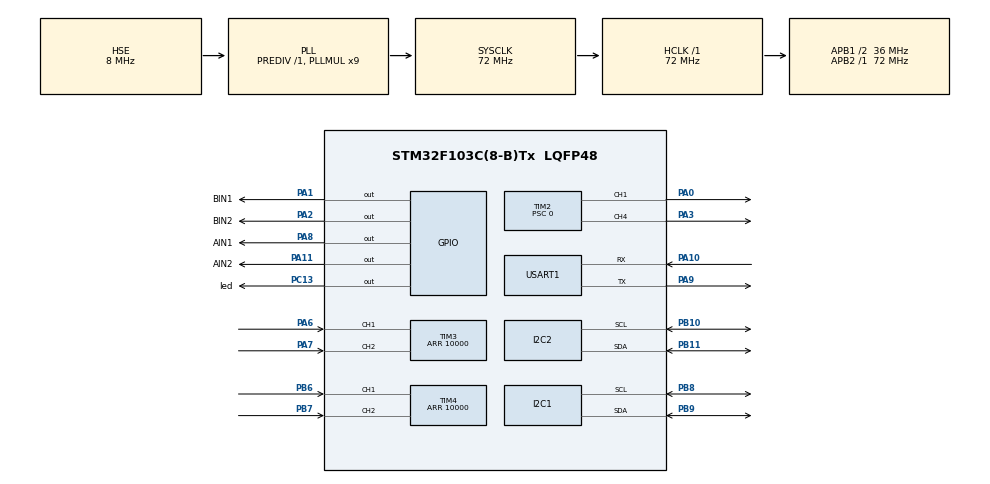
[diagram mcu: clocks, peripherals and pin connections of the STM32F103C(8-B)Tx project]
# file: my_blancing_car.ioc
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I2C2.I2C_Mode=I2C_Standard
Mcu.Family=STM32F1
Mcu.Name=STM32F103C(8-B)Tx
Mcu.Package=LQFP48
NVIC.PriorityGroup=NVIC_PRIORITYGROUP_4
NVIC.TIM1_UP_IRQn=true\:1\:0\:true\:false\:true\:true\:true
NVIC.USART1_IRQn=true\:0\:0\:true\:false\:true\:true\:true
PA0-WKUP.Signal=S_TIM2_CH1_ETR
PA1.GPIO_Label=BIN1
PA1.Signal=GPIO_Output
PA10.Mode=Asynchronous
PA10.Signal=USART1_RX
PA11.GPIO_Label=AIN2
PA11.Signal=GPIO_Output
PA13.Mode=Serial_Wire
PA13.Signal=SYS_JTMS-SWDIO
PA14.Mode=Serial_Wire
PA14.Signal=SYS_JTCK-SWCLK
PA2.GPIO_Label=BIN2
PA2.Signal=GPIO_Output
PA3.Signal=S_TIM2_CH4
PA6.Signal=S_TIM3_CH1
PA7.Signal=S_TIM3_CH2
PA8.GPIO_Label=AIN1
PA8.Signal=GPIO_Output
PA9.Mode=Asynchronous
PA9.Signal=USART1_TX
PB10.Mode=I2C
PB10.Signal=I2C2_SCL
PB11.Mode=I2C
PB11.Signal=I2C2_SDA
PB6.Signal=S_TIM4_CH1
PB7.Signal=S_TIM4_CH2
PB8.Mode=I2C
PB8.Signal=I2C1_SCL
PB9.Mode=I2C
PB9.Signal=I2C1_SDA
PC13-TAMPER-RTC.GPIO_Label=led
PC13-TAMPER-RTC.Signal=GPIO_Output
PD0-OSC_IN.Mode=HSE-External-Oscillator
PD0-OSC_IN.Signal=RCC_OSC_IN
PD1-OSC_OUT.Mode=HSE-External-Oscillator
PD1-OSC_OUT.Signal=RCC_OSC_OUT
ProjectManager.HeapSize=0x200
ProjectManager.StackSize=0x400
ProjectManager.TargetToolchain=SW4STM32
RCC.AHBFreq_Value=72000000
RCC.APB1CLKDivider=RCC_HCLK_DIV2
RCC.APB1Freq_Value=36000000
RCC.APB1TimFreq_Value=72000000
RCC.APB2Freq_Value=72000000
RCC.APB2TimFreq_Value=72000000
RCC.HCLKFreq_Value=72000000
RCC.PLLMUL=RCC_PLL_MUL9
RCC.PLLSourceVirtual=RCC_PLLSOURCE_HSE
RCC.SYSCLKFreq_VALUE=72000000
RCC.SYSCLKSource=RCC_SYSCLKSOURCE_PLLCLK
RCC.USBFreq_Value=72000000
SH.S_TIM2_CH1_ETR.0=TIM2_CH1,PWM Generation1 CH1
SH.S_TIM2_CH4.0=TIM2_CH4,PWM Generation4 CH4
SH.S_TIM3_CH1.0=TIM3_CH1,Encoder_Interface
SH.S_TIM3_CH2.0=TIM3_CH2,Encoder_Interface
SH.S_TIM4_CH1.0=TIM4_CH1,Encoder_Interface
SH.S_TIM4_CH2.0=TIM4_CH2,Encoder_Interface
TIM1.AutoReloadPreload=TIM_AUTORELOAD_PRELOAD_ENABLE
TIM1.Period=4999
TIM1.Prescaler=71
TIM2.AutoReloadPreload=TIM_AUTORELOAD_PRELOAD_ENABLE
TIM2.Channel-PWM\ Generation1\ CH1=TIM_CHANNEL_1
TIM2.Channel-PWM\ Generation4\ CH4=TIM_CHANNEL_4
TIM2.Period=7199
TIM2.Prescaler=0
TIM3.AutoReloadPreload=TIM_AUTORELOAD_PRELOAD_ENABLE
TIM3.Period=10000
TIM4.AutoReloadPreload=TIM_AUTORELOAD_PRELOAD_ENABLE
TIM4.Period=10000
USART1.VirtualMode=VM_ASYNC
VP_TIM1_VS_ClockSourceINT.Mode=Internal
board=custom

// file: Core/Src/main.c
/* USER CODE BEGIN Header */
/**
  ******************************************************************************
  * @file           : main.c
  * @brief          : Main program body
  ******************************************************************************
  * @attention
  *
  * <h2><center>&copy; Copyright (c) 2021 STMicroelectronics.
  * All rights reserved.</center></h2>
  *
  * This software component is licensed by ST under BSD 3-Clause license,
  * the "License"; You may not use this file except in compliance with the
  * License. You may obtain a copy of the License at:
  *                        opensource.org/licenses/BSD-3-Clause
  *
  ******************************************************************************
  */
/* USER CODE END Header */
#include "main.h"
#include "i2c.h"
#include "tim.h"
#include "usart.h"
#include "gpio.h"

/* USER CODE BEGIN Includes */
//#include "oled.h"
#include "hc05.h"
#include "math.h"
#include "mpu6050.h"
#include "oled.h"
#include "pid.h"
#include "stdbool.h"
/* USER CODE END Includes */

/* USER CODE BEGIN PTD */
float kP = 0, kI = 0, kD = 0;
float kP_p = 0, kI_p = 0, kD_p = 0;
float kP_t = 0, kI_t = 0, kD_t = 0;
bool start_flag = false;  //启动
int motor, dir1, dir2 = 0;
extern long rxIndex;
extern int out;
extern int t;
TxPack txpack;
RxPack rxpack;  //蓝牙使用结构体

/* USER CODE END PTD */

void SystemClock_Config(void);

/* USER CODE BEGIN 0 */
//int __io_putchar(int ch) {
//    uint8_t temp[1] = {ch};
//    HAL_UART_Transmit(&huart1, temp, 1, 0xff);
//    return (ch);
//}
/* USER CODE END 0 */

int main(void)
{

  /* MCU Configuration--------------------------------------------------------*/

  /* Reset of all peripherals, Initializes the Flash interface and the Systick. */
  HAL_Init();

  /* Configure the system clock */
  SystemClock_Config();

  /* Initialize all configured peripherals */
  MX_GPIO_Init();
  MX_TIM2_Init();
  MX_TIM3_Init();
  MX_USART1_UART_Init();
  MX_TIM4_Init();
  MX_I2C1_Init();
  MX_I2C2_Init();
  MX_TIM1_Init();
  /* USER CODE BEGIN 2 */

    OLED_Init();
    OLED_Clear();
    OLED_ShowString(0, 1, "hollo!", 12);
    OLED_ShowString(0, 2, "kP:", 12);
    OLED_ShowString(0, 3, "kD:", 12);
    OLED_ShowString(0, 4, "kI:", 12);

    HAL_TIM_PWM_Start(&htim2, TIM_CHANNEL_4);  //电机初始化
    HAL_TIM_PWM_Start(&htim2, TIM_CHANNEL_1);  //
    __HAL_TIM_SET_COMPARE(&htim2, TIM_CHANNEL_1, 0);
    __HAL_TIM_SET_COMPARE(&htim2, TIM_CHANNEL_4, 0);

    HAL_TIM_Encoder_Start(&htim3, TIM_CHANNEL_ALL);
    HAL_TIM_Encoder_Start(&htim4, TIM_CHANNEL_ALL);
    __HAL_TIM_SET_COUNTER(&htim3, 5000);
    __HAL_TIM_SET_COUNTER(&htim4, 5000);  // 编码器初始化

    PID_Init(&BC_A_PID, 420, 0, 1.2);
    PID_Init(&BC_P_PID, 550, 2.75, 1.1);                //pid初始化
    PID_Init(&BC_T_PID, -9, 0, -0.8);

    MPU6050_initialize();
    DMP_Init();                                                   //DMP6050初始化

    HAL_Delay(500);                                         //等待6050初始化

    HAL_UART_Receive_IT(&huart1, (uint8_t *) &uartByte, 1);  //蓝牙初始化

    HAL_Delay(200);

    HAL_TIM_Base_Start_IT(&htim1);
   //
  /* USER CODE END 2 */

  /* Infinite loop */
  /* USER CODE BEGIN WHILE */
#pragma clang diagnostic push
#pragma ide diagnostic ignored "EndlessLoop"
    while (1) {
        if (readValuePack(&rxpack)) {          //读蓝牙传输数据
            kP = (float) (rxpack.floats[0]);
            kI = (float) (rxpack.floats[1]);               //这个是第二个速度PID，kP值.
            kD = (float) (rxpack.floats[2]);               //获得pid设定值
            kP_p = (float)(rxpack.floats[3]);
            kD_p = (float) (rxpack.floats[5]);
            kI_p = (float) (rxpack.floats[4]);               //这个是第二个速度PID，kP值.
            kP_t = (float) (rxpack.floats[6]);               //获得pid设定值
            kD_t = (float)(rxpack.floats[8]);
            kI_t = (float)(rxpack.floats[7]);

            motor = rxpack.integers[0];                    //获得速度值
            dir1 = rxpack.integers[1];

            if (rxpack.bools[0]) {                            //将参数存入flash
                save();
            }
            if (rxpack.bytes[0]) {                            //启动
                start_flag = true;
                PID_Init(&BC_A_PID, kP, kI, kD);
                PID_Init(&BC_P_PID, kP_p*200, kP_p, kD);
                PID_Init(&BC_T_PID, kP_t, kI_t, kD_t);
            } else {
                start_flag = false;
            }
        }
        //读蓝牙数据
        txpack.floats[0] = Pitch ;
        txpack.floats[1] = -0.2;
        txpack.floats[2] = Yaw;
        sendValuePack(&txpack);         //蓝牙调试信息

        OLED_ShowNum(36, 2, kP, 12);
        OLED_ShowNum(36, 3, kD, 12);
        OLED_ShowNum(36, 4, kI, 12);
        OLED_ShowNum(36, 5, Pitch, 12);
        OLED_ShowNum(36, 6, rxIndex, 12);
        OLED_ShowNum(36, 7, t, 12);//屏幕显示信息
    /* USER CODE END WHILE */

    /* USER CODE BEGIN 3 */
    }
#pragma clang diagnostic pop
  /* USER CODE END 3 */
}

void SystemClock_Config(void)
{
  RCC_OscInitTypeDef RCC_OscInitStruct = {0};
  RCC_ClkInitTypeDef RCC_ClkInitStruct = {0};

  /** Initializes the RCC Oscillators according to the specified parameters
  * in the RCC_OscInitTypeDef structure.
  */
  RCC_OscInitStruct.OscillatorType = RCC_OSCILLATORTYPE_HSE;
  RCC_OscInitStruct.HSEState = RCC_HSE_ON;
  RCC_OscInitStruct.HSEPredivValue = RCC_HSE_PREDIV_DIV1;
  RCC_OscInitStruct.HSIState = RCC_HSI_ON;
  RCC_OscInitStruct.PLL.PLLState = RCC_PLL_ON;
  RCC_OscInitStruct.PLL.PLLSource = RCC_PLLSOURCE_HSE;
  RCC_OscInitStruct.PLL.PLLMUL = RCC_PLL_MUL9;
  if (HAL_RCC_OscConfig(&RCC_OscInitStruct) != HAL_OK)
  {
    Error_Handler();
  }
  /** Initializes the CPU, AHB and APB buses clocks
  */
  RCC_ClkInitStruct.ClockType = RCC_CLOCKTYPE_HCLK|RCC_CLOCKTYPE_SYSCLK
                              |RCC_CLOCKTYPE_PCLK1|RCC_CLOCKTYPE_PCLK2;
  RCC_ClkInitStruct.SYSCLKSource = RCC_SYSCLKSOURCE_PLLCLK;
  RCC_ClkInitStruct.AHBCLKDivider = RCC_SYSCLK_DIV1;
  RCC_ClkInitStruct.APB1CLKDivider = RCC_HCLK_DIV2;
  RCC_ClkInitStruct.APB2CLKDivider = RCC_HCLK_DIV1;

  if (HAL_RCC_ClockConfig(&RCC_ClkInitStruct, FLASH_LATENCY_2) != HAL_OK)
  {
    Error_Handler();
  }
}

void Error_Handler(void)
{
    __disable_irq();
    while (1) {
    }
}

/************************ (C) COPYRIGHT STMicroelectronics *****END OF FILE****/
